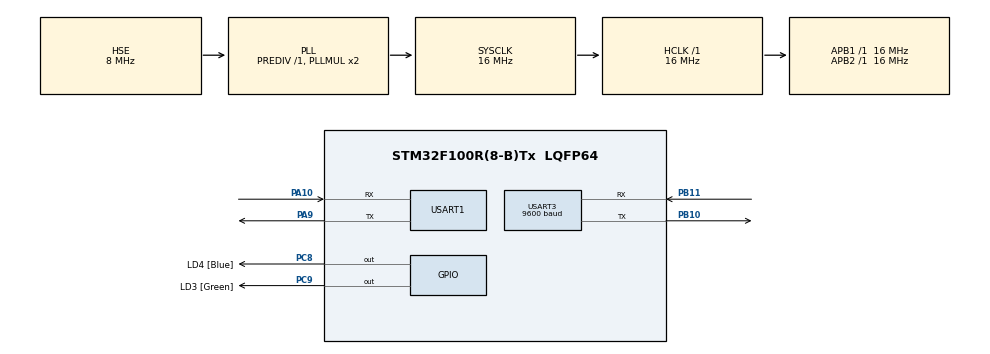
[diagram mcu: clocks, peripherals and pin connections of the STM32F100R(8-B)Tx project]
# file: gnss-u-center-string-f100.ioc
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Mcu.Family=STM32F1
Mcu.Name=STM32F100R(8-B)Tx
Mcu.Package=LQFP64
NVIC.PriorityGroup=NVIC_PRIORITYGROUP_4
PA0-WKUP.Mode=SYS_WakeUp0
PA0-WKUP.Signal=SYS_WKUP
PA10.Mode=Asynchronous
PA10.Signal=USART1_RX
PA13.GPIO_Label=TMS_SWDIO
PA13.Mode=Serial_Wire
PA13.Signal=SYS_JTMS-SWDIO
PA14.GPIO_Label=TCK_SWCLK
PA14.Mode=Serial_Wire
PA14.Signal=SYS_JTCK-SWCLK
PA9.Mode=Asynchronous
PA9.Signal=USART1_TX
PB10.Mode=Asynchronous
PB10.Signal=USART3_TX
PB11.Mode=Asynchronous
PB11.Signal=USART3_RX
PC14-OSC32_IN.Mode=LSE-External-Oscillator
PC14-OSC32_IN.Signal=RCC_OSC32_IN
PC15-OSC32_OUT.Mode=LSE-External-Oscillator
PC15-OSC32_OUT.Signal=RCC_OSC32_OUT
PC8.GPIO_Label=LD4 [Blue]
PC8.Signal=GPIO_Output
PC9.GPIO_Label=LD3 [Green]
PC9.Signal=GPIO_Output
PD0-OSC_IN.Mode=HSE-External-Oscillator
PD0-OSC_IN.Signal=RCC_OSC_IN
PD1-OSC_OUT.Mode=HSE-External-Oscillator
PD1-OSC_OUT.Signal=RCC_OSC_OUT
ProjectManager.HeapSize=0x200
ProjectManager.StackSize=0x400
ProjectManager.TargetToolchain=STM32CubeIDE
RCC.AHBFreq_Value=16000000
RCC.APB1Freq_Value=16000000
RCC.APB1TimFreq_Value=16000000
RCC.APB2Freq_Value=16000000
RCC.APB2TimFreq_Value=16000000
RCC.HCLKFreq_Value=16000000
RCC.PLLSource=RCC_PLLSOURCE_HSE
RCC.SYSCLKFreq_VALUE=16000000
RCC.SYSCLKSource=RCC_SYSCLKSOURCE_PLLCLK
RTC.Format=RTC_FORMAT_BIN
USART1.VirtualMode=VM_ASYNC
USART3.BaudRate=9600
USART3.VirtualMode=VM_ASYNC
VP_RTC_VS_RTC_Activate.Mode=RTC_Enabled
board=STM32VLDISCOVERY

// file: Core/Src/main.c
/* USER CODE BEGIN Header */
/**
  ******************************************************************************
  * @file           : main.c
  * @brief          : Main program body
  ******************************************************************************
  * @attention
  *
  * Copyright (c) 2022 STMicroelectronics.
  * All rights reserved.
  *
  * This software is licensed under terms that can be found in the LICENSE file
  * in the root directory of this software component.
  * If no LICENSE file comes with this software, it is provided AS-IS.
  *
  ******************************************************************************
  */
/* USER CODE END Header */
#include "main.h"
#include "rtc.h"
#include "usart.h"
#include "gpio.h"

/* USER CODE BEGIN Includes */

	#include <string.h>
	#include <stdio.h>
	#include <stdlib.h>

/* USER CODE END Includes */

void SystemClock_Config(void);

int main(void)
{

  /* MCU Configuration--------------------------------------------------------*/

  /* Reset of all peripherals, Initializes the Flash interface and the Systick. */
  HAL_Init();

  /* Configure the system clock */
  SystemClock_Config();

  /* Initialize all configured peripherals */
  MX_GPIO_Init();
  MX_USART1_UART_Init();
  MX_USART3_UART_Init();
  MX_RTC_Init();
  /* USER CODE BEGIN 2 */
	HAL_GPIO_TogglePin(LD3_GPIO_Port,LD3_Pin);
	char DataChar[0xff];
	sprintf(DataChar,"\r\n\r\n\tDIEGO - dot clock for bedroom");
	HAL_UART_Transmit( &huart1, (uint8_t *)DataChar , strlen(DataChar) , 100 ) ;

	#define DATE_as_int_str 	(__DATE__)
	#define TIME_as_int_str 	(__TIME__)
	sprintf(DataChar,"\r\n\tBuild: %s. Time: %s." , DATE_as_int_str , TIME_as_int_str ) ;
	HAL_UART_Transmit( &huart1, (uint8_t *)DataChar , strlen(DataChar) , 100 ) ;

	sprintf(DataChar,"\r\n\tFor debug: UART1-115200/8-N-1\r\n" ) ;
	HAL_UART_Transmit( &huart1, (uint8_t *)DataChar , strlen(DataChar) , 100 ) ;

	RTC_TimeTypeDef TimeSt = { 0 } ;
	TimeSt.Hours 	= 13 ;
	TimeSt.Minutes 	= 35 ;
	TimeSt.Seconds 	=  0 ;
	HAL_RTC_SetTime(&hrtc, &TimeSt, RTC_FORMAT_BIN);
	uint32_t x_u32 = 75000;
	uint32_t y_u32 = 53000;

  /* USER CODE END 2 */

  /* Infinite loop */
  /* USER CODE BEGIN WHILE */
  while (1)
  {
	HAL_Delay(1000);
	HAL_GPIO_TogglePin(LD3_GPIO_Port,LD3_Pin);
	HAL_GPIO_TogglePin(LD4_GPIO_Port,LD4_Pin);

//	sprintf(DataChar,"$GNGGA,093442.00,5029.75956,N,03046.53359,E,1,12,0.64,112.2,M,25.3,M,,*41\r\n" ) ;
//	HAL_UART_Transmit( &huart3, (uint8_t *)DataChar , strlen(DataChar) , 100 ) ;

	//uint8_t gnss_lenght_u8 = strlen(DataChar);
	uint8_t gnss_lenght_u8 = 75;
//	sprintf(DataChar, "GNSS length: %d\r\n", gnss_lenght_u8);
//	HAL_UART_Transmit( &huart1, (uint8_t *)DataChar , strlen(DataChar) , 100 ) ;

//	#define CS_SIZE	4
//	char cs_glue_string[CS_SIZE];
	//	cs glue:
//	memset( cs_glue_string, 0, CS_SIZE );
//	memcpy( cs_glue_string, &DataChar[gnss_lenght_u8 - 4], 2 );
//	uint8_t cs_glue_u8 = strtol(cs_glue_string, NULL, 16 );
//
	uint8_t cs_calc_u8 = 0;
//	cs_calc_u8 = DataChar[1];
//	for (int i=2; i<(gnss_lenght_u8 - 5); i++) {
//		cs_calc_u8 ^= DataChar[i];
//	}
//
//	if (cs_calc_u8 == cs_glue_u8) {
//		sprintf(DataChar, "chSum Ok\r\n");
//		HAL_UART_Transmit( &huart1, (uint8_t *)DataChar , strlen(DataChar) , 100 ) ;
//	}

	x_u32 = x_u32 + 10;
	y_u32 = y_u32 + 10;
	HAL_RTC_GetTime(&hrtc, &TimeSt, RTC_FORMAT_BIN);
	sprintf(DataChar,"RTC Time: %02d:%02d:%02d\r\n",TimeSt.Hours, TimeSt.Minutes, TimeSt.Seconds );
	HAL_UART_Transmit( &huart1, (uint8_t *)DataChar , strlen(DataChar) , 100 ) ;

	sprintf(DataChar,"$GNGGA,%02d%02d%02d.00,5029.%05lu,N,03046.%05lu,E,1,12,0.64,112.2,M,25.3,M,,*41\r\n",
			TimeSt.Hours, TimeSt.Minutes, TimeSt.Seconds, x_u32, y_u32 ) ;
	//HAL_UART_Transmit( &huart3, (uint8_t *)DataChar , strlen(DataChar) , 100 ) ;

	cs_calc_u8 = DataChar[1];
	for (int i=2; i<(gnss_lenght_u8 - 5); i++) {
		cs_calc_u8 ^= DataChar[i];
	}

//	sprintf(DataChar, "New chSum %d\r\n", cs_calc_u8 );
//	HAL_UART_Transmit( &huart1, (uint8_t *)DataChar , strlen(DataChar) , 100 ) ;

	sprintf(DataChar,"$GNGGA,%02d%02d%02d.00,5029.%05lu,N,03046.%05lu,E,1,12,0.64,112.2,M,25.3,M,,*%02x\r\n",
			TimeSt.Hours, TimeSt.Minutes, TimeSt.Seconds, x_u32, y_u32, cs_calc_u8) ;
	HAL_UART_Transmit( &huart3, (uint8_t *)DataChar , strlen(DataChar) , 100 ) ;

    /* USER CODE END WHILE */

  }
}

void SystemClock_Config(void)
{
  RCC_OscInitTypeDef RCC_OscInitStruct = {0};
  RCC_ClkInitTypeDef RCC_ClkInitStruct = {0};
  RCC_PeriphCLKInitTypeDef PeriphClkInit = {0};

  /** Initializes the RCC Oscillators according to the specified parameters
  * in the RCC_OscInitTypeDef structure.
  */
  RCC_OscInitStruct.OscillatorType = RCC_OSCILLATORTYPE_LSI|RCC_OSCILLATORTYPE_HSE;
  RCC_OscInitStruct.HSEState = RCC_HSE_ON;
  RCC_OscInitStruct.HSEPredivValue = RCC_HSE_PREDIV_DIV1;
  RCC_OscInitStruct.LSIState = RCC_LSI_ON;
  RCC_OscInitStruct.PLL.PLLState = RCC_PLL_ON;
  RCC_OscInitStruct.PLL.PLLSource = RCC_PLLSOURCE_HSE;
  RCC_OscInitStruct.PLL.PLLMUL = RCC_PLL_MUL2;
  if (HAL_RCC_OscConfig(&RCC_OscInitStruct) != HAL_OK)
  {
    Error_Handler();
  }

  /** Initializes the CPU, AHB and APB buses clocks
  */
  RCC_ClkInitStruct.ClockType = RCC_CLOCKTYPE_HCLK|RCC_CLOCKTYPE_SYSCLK
                              |RCC_CLOCKTYPE_PCLK1|RCC_CLOCKTYPE_PCLK2;
  RCC_ClkInitStruct.SYSCLKSource = RCC_SYSCLKSOURCE_PLLCLK;
  RCC_ClkInitStruct.AHBCLKDivider = RCC_SYSCLK_DIV1;
  RCC_ClkInitStruct.APB1CLKDivider = RCC_HCLK_DIV1;
  RCC_ClkInitStruct.APB2CLKDivider = RCC_HCLK_DIV1;

  if (HAL_RCC_ClockConfig(&RCC_ClkInitStruct, FLASH_LATENCY_0) != HAL_OK)
  {
    Error_Handler();
  }
  PeriphClkInit.PeriphClockSelection = RCC_PERIPHCLK_RTC;
  PeriphClkInit.RTCClockSelection = RCC_RTCCLKSOURCE_LSI;
  if (HAL_RCCEx_PeriphCLKConfig(&PeriphClkInit) != HAL_OK)
  {
    Error_Handler();
  }
}

void Error_Handler(void)
{
  __disable_irq();
  while (1)
  {
  }
}
